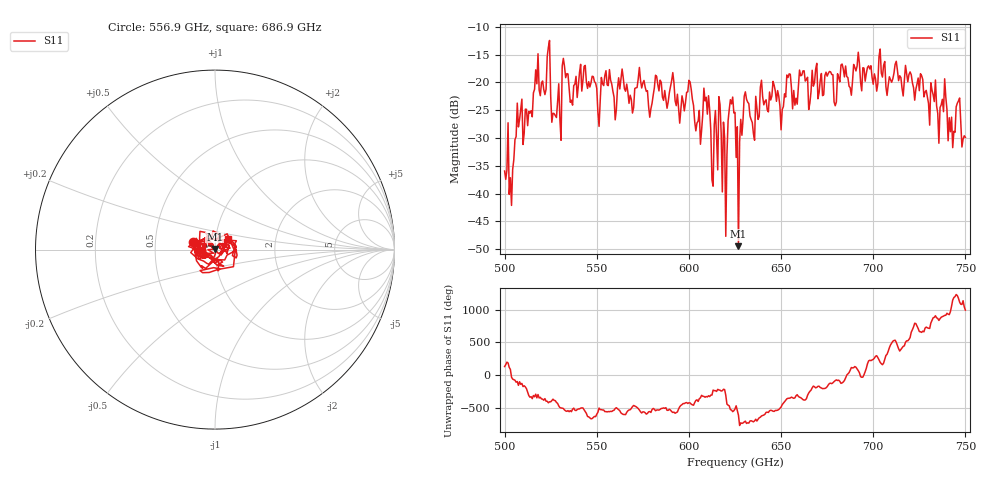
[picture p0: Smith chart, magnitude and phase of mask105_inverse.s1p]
!Created with skrf (http://scikit-rf.org).
# GHz S MA R 50.0
!freq magS11 angS11
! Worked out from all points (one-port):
!   401 points, 500 GHz to 750 GHz, reference 50 ohm
!   lowest |S11| = -49.5 dB at 626.9 GHz (marker M1), VSWR 1.01, Z = 49.9 + j0.319 ohm
!   |S11| at or under -10 dB: start of sweep to end of sweep
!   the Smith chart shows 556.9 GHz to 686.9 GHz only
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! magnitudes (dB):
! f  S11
! 500 GHz  -35.9
! 503.8 GHz  -42.1
! 508.1 GHz  -26.7
! 513.8 GHz  -25.5
! 516.9 GHz  -17.8
! 523.8 GHz  -13.7
! 526.9 GHz  -25.6
! 531.2 GHz  -17.1
! 562.5 GHz  -21.2
! 593.8 GHz  -22.1
! 600 GHz  -19.6
! 605.6 GHz  -25.0
! 609.4 GHz  -22.7
! 612.5 GHz  -37.5
! 617.5 GHz  -29.2
! 619.4 GHz  -30.0
! 622.5 GHz  -23.1
! 625 GHz  -25.4
! 626.9 GHz  -49.5
! 631.2 GHz  -23.0
! 634.4 GHz  -27.2
! 640 GHz  -22.6
! 656.2 GHz  -24.8
! 687.5 GHz  -21.0
! 718.8 GHz  -19.9
! 741.9 GHz  -28.9
! 746.2 GHz  -23.3
! 750 GHz  -29.9
